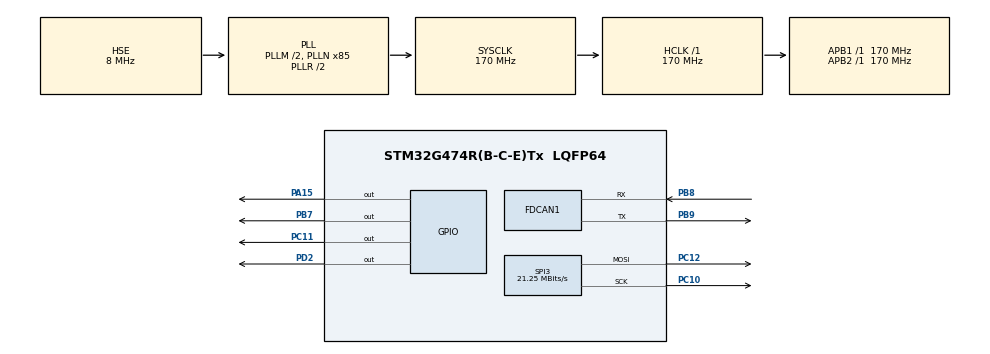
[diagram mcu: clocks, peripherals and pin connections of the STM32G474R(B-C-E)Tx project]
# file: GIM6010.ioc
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FDCAN1.AutoRetransmission=DISABLE
FDCAN1.CalculateBaudRateNominal=1000000
FDCAN1.CalculateTimeBitNominal=1000
FDCAN1.CalculateTimeQuantumNominal=100.0
FDCAN1.DataPrescaler=17
FDCAN1.DataTimeSeg1=5
FDCAN1.DataTimeSeg2=4
FDCAN1.FrameFormat=FDCAN_FRAME_CLASSIC
FDCAN1.NominalPrescaler=17
FDCAN1.NominalTimeSeg1=5
FDCAN1.NominalTimeSeg2=4
FDCAN1.StdFiltersNbr=8
FDCAN1.TransmitPause=DISABLE
Mcu.Family=STM32G4
Mcu.Name=STM32G474R(B-C-E)Tx
Mcu.Package=LQFP64
NVIC.FDCAN1_IT0_IRQn=true\:0\:0\:false\:false\:true\:true\:true\:true
NVIC.PriorityGroup=NVIC_PRIORITYGROUP_4
NVIC.TIM6_DAC_IRQn=true\:0\:0\:false\:false\:true\:true\:true\:true
PA13.Mode=Serial_Wire
PA13.Signal=SYS_JTMS-SWDIO
PA14.Mode=Serial_Wire
PA14.Signal=SYS_JTCK-SWCLK
PA15.Signal=GPIO_Output
PB7.Signal=GPIO_Output
PB8-BOOT0.Mode=FDCAN_Activate
PB8-BOOT0.Signal=FDCAN1_RX
PB9.Mode=FDCAN_Activate
PB9.Signal=FDCAN1_TX
PC10.Mode=TX_Only_Simplex_Unidirect_Master
PC10.Signal=SPI3_SCK
PC11.Signal=GPIO_Output
PC12.Mode=TX_Only_Simplex_Unidirect_Master
PC12.Signal=SPI3_MOSI
PD2.Signal=GPIO_Output
PF0-OSC_IN.Mode=HSE-External-Oscillator
PF0-OSC_IN.Signal=RCC_OSC_IN
PF1-OSC_OUT.Mode=HSE-External-Oscillator
PF1-OSC_OUT.Signal=RCC_OSC_OUT
ProjectManager.HeapSize=0x200
ProjectManager.StackSize=0x400
ProjectManager.TargetToolchain=Makefile
RCC.ADC12Freq_Value=170000000
RCC.ADC345Freq_Value=170000000
RCC.AHBFreq_Value=170000000
RCC.APB1Freq_Value=170000000
RCC.APB1TimFreq_Value=170000000
RCC.APB2Freq_Value=170000000
RCC.APB2TimFreq_Value=170000000
RCC.CortexFreq_Value=170000000
RCC.EXTERNAL_CLOCK_VALUE=12288000
RCC.HCLKFreq_Value=170000000
RCC.HSE_VALUE=8000000
RCC.HSI48_VALUE=48000000
RCC.HSI_VALUE=16000000
RCC.LSE_VALUE=32768
RCC.PLLM=RCC_PLLM_DIV2
RCC.PLLN=85
RCC.PLLSourceVirtual=RCC_PLLSOURCE_HSE
RCC.SYSCLKFreq_VALUE=170000000
RCC.SYSCLKSource=RCC_SYSCLKSOURCE_PLLCLK
RCC.USBFreq_Value=170000000
RCC.VCOOutputFreq_Value=340000000
SPI3.BaudRatePrescaler=SPI_BAUDRATEPRESCALER_8
SPI3.CLKPolarity=SPI_POLARITY_HIGH
SPI3.CalculateBaudRate=21.25 MBits/s
SPI3.DataSize=SPI_DATASIZE_8BIT
SPI3.Direction=SPI_DIRECTION_2LINES
SPI3.Mode=SPI_MODE_MASTER
SPI3.VirtualType=VM_MASTER
TIM6.PeriodNoDither=100-1
TIM6.Prescaler=160 -1
VP_SYS_VS_DBSignals.Mode=DisableDeadBatterySignals
VP_TIM6_VS_ClockSourceINT.Mode=Enable_Timer
board=custom

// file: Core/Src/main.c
/* USER CODE BEGIN Header */
/**
  ******************************************************************************
  * @file           : main.c
  * @brief          : Main program body
  ******************************************************************************
  * @attention
  *
  * Copyright (c) 2025 STMicroelectronics.
  * All rights reserved.
  *
  * This software is licensed under terms that can be found in the LICENSE file
  * in the root directory of this software component.
  * If no LICENSE file comes with this software, it is provided AS-IS.
  *
  ******************************************************************************
  */
/* USER CODE END Header */
#include "main.h"
#include "fdcan.h"
#include "spi.h"
#include "tim.h"
#include "gpio.h"

/* USER CODE BEGIN Includes */
#include "bsp_fdcan.h"
#include "GIM6010.h"
#include "GIM6010_8.h"
#include "math.h"
/* USER CODE END Includes */

/* USER CODE BEGIN PV */
GIM6010_Measure_s *motor_param;
float angle;
float ki = 0.3;
/* USER CODE END PV */

void SystemClock_Config(void);
/* USER CODE BEGIN PFP */
static void ReadParameter();
static void Control_State_Machine();
/* USER CODE END PFP */

int main(void)
{

  /* MCU Configuration--------------------------------------------------------*/

  /* Reset of all peripherals, Initializes the Flash interface and the Systick. */
  HAL_Init();

  /* Configure the system clock */
  SystemClock_Config();

  /* Initialize all configured peripherals */
  MX_GPIO_Init();
  MX_FDCAN1_Init();
  MX_TIM6_Init();
  MX_SPI3_Init();
  /* USER CODE BEGIN 2 */
  fdcan_user_init();
  GIMCANMotorSetMode(&hfdcan1, 0x01, GIMCAN_CMD_READ_ANGLE_MODE);
  motor_param = GIM6010_Measure_Ptr();
  /* USER CODE END 2 */

  /* Infinite loop */
  /* USER CODE BEGIN WHILE */
  while (1)
  {
    ReadParameter();
    Control_State_Machine();
    HAL_Delay(10);
    /* USER CODE END WHILE */

  }
}

void SystemClock_Config(void)
{
  RCC_OscInitTypeDef RCC_OscInitStruct = {0};
  RCC_ClkInitTypeDef RCC_ClkInitStruct = {0};

  /** Configure the main internal regulator output voltage
  */
  HAL_PWREx_ControlVoltageScaling(PWR_REGULATOR_VOLTAGE_SCALE1_BOOST);

  /** Initializes the RCC Oscillators according to the specified parameters
  * in the RCC_OscInitTypeDef structure.
  */
  RCC_OscInitStruct.OscillatorType = RCC_OSCILLATORTYPE_HSE;
  RCC_OscInitStruct.HSEState = RCC_HSE_ON;
  RCC_OscInitStruct.PLL.PLLState = RCC_PLL_ON;
  RCC_OscInitStruct.PLL.PLLSource = RCC_PLLSOURCE_HSE;
  RCC_OscInitStruct.PLL.PLLM = RCC_PLLM_DIV2;
  RCC_OscInitStruct.PLL.PLLN = 85;
  RCC_OscInitStruct.PLL.PLLP = RCC_PLLP_DIV2;
  RCC_OscInitStruct.PLL.PLLQ = RCC_PLLQ_DIV2;
  RCC_OscInitStruct.PLL.PLLR = RCC_PLLR_DIV2;
  if (HAL_RCC_OscConfig(&RCC_OscInitStruct) != HAL_OK)
  {
    Error_Handler();
  }

  /** Initializes the CPU, AHB and APB buses clocks
  */
  RCC_ClkInitStruct.ClockType = RCC_CLOCKTYPE_HCLK|RCC_CLOCKTYPE_SYSCLK
                              |RCC_CLOCKTYPE_PCLK1|RCC_CLOCKTYPE_PCLK2;
  RCC_ClkInitStruct.SYSCLKSource = RCC_SYSCLKSOURCE_PLLCLK;
  RCC_ClkInitStruct.AHBCLKDivider = RCC_SYSCLK_DIV1;
  RCC_ClkInitStruct.APB1CLKDivider = RCC_HCLK_DIV1;
  RCC_ClkInitStruct.APB2CLKDivider = RCC_HCLK_DIV1;

  if (HAL_RCC_ClockConfig(&RCC_ClkInitStruct, FLASH_LATENCY_4) != HAL_OK)
  {
    Error_Handler();
  }
}

/* USER CODE BEGIN 4 */
static void ReadParameter()
{
  GIMCANMotorSetMode(&hfdcan1, 0x01, GIMCAN_CMD_READ_ANGLE_MODE);
  GIMCANMotorSetMode(&hfdcan1, 0x01, GIMCAN_CMD_READ_RPM_MODE);
}

static void Control_State_Machine()
{
  motor_param->set_current = cos(motor_param->angle_single_round) * ki;
  GIMCANMotorSetCurrent(&hfdcan1, 0x01, motor_param->set_current);
  int32_t cnt = 0;
  if(fabs(motor_param->speed_raw) > 50)
  {
    cnt++;
    while(cnt > 500)
    {
      GIMCANMotorSetMode(&hfdcan1, 0x01, GIMCAN_CMD_DISABLE_MODE);
    }
  }
}
/* USER CODE END 4 */

void Error_Handler(void)
{
  /* USER CODE BEGIN Error_Handler_Debug */
  /* User can add his own implementation to report the HAL error return state */
  __disable_irq();
  while (1)
  {
    HAL_FDCAN_AbortTxRequest(&hfdcan1, FDCAN_TX_BUFFER0 | FDCAN_TX_BUFFER1);
    break;
  }
  /* USER CODE END Error_Handler_Debug */
}
